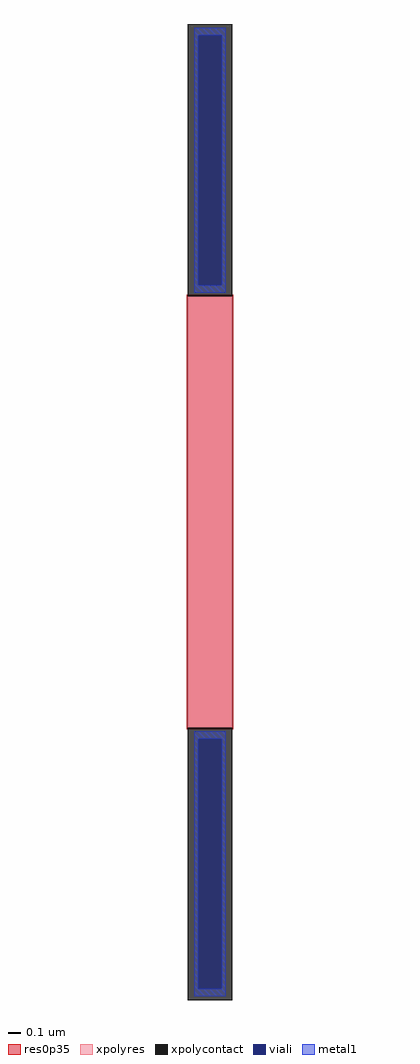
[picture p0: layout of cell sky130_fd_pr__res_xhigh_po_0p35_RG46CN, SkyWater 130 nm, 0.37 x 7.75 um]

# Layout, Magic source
magic
tech sky130A
magscale 1 2
<< xpolycontact >>
rect -35 343 35 775
rect -35 -775 35 -343
<< xpolyres >>
rect -35 -343 35 343
<< viali >>
rect -19 360 19 757
rect -19 -757 19 -360
<< metal1 >>
rect -25 757 25 769
rect -25 360 -19 757
rect 19 360 25 757
rect -25 348 25 360
rect -25 -360 25 -348
rect -25 -757 -19 -360
rect 19 -757 25 -360
rect -25 -769 25 -757
<< res0p35 >>
rect -37 -345 37 345
<< properties >>
string gencell sky130_fd_pr__res_xhigh_po_0p35
string parameters w 0.350 l 3.43 m 1 nx 1 wmin 0.350 lmin 0.50 rho 2000 val 20.285k dummy 0 dw 0.0 term 120 sterm 0.0 caplen 0 wmax 0.350 guard 0 glc 0 grc 0 gtc 0 gbc 0 compatible {sky130_fd_pr__res_xhigh_po_0p35  sky130_fd_pr__res_xhigh_po_0p69 sky130_fd_pr__res_xhigh_po_1p41  sky130_fd_pr__res_xhigh_po_2p85 sky130_fd_pr__res_xhigh_po_5p73} full_metal 0 vias 1 viagb 0 viagt 0 viagl 0 viagr 0
string library sky130
<< end >>
